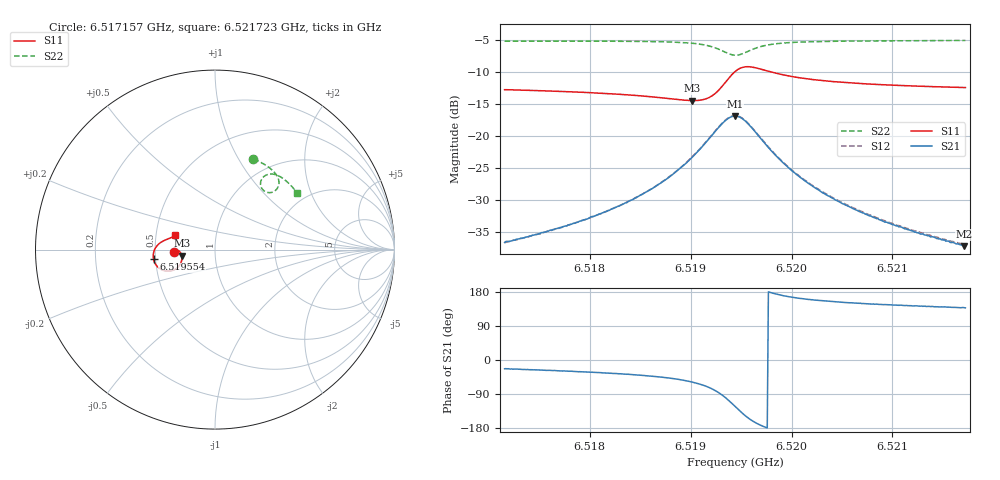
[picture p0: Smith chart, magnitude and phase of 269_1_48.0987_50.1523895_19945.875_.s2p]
#  HZ  S  RI  R  50.00
! Rohde & Schwarz Vector Network Analyzer
! Rohde-Schwarz,ZNB20-2Port,1311601062101988,3.16
! Created: UTC 12/23/2023, 4:01:34 AM
! freq[Hz]  re:S11  im:S11  re:S21  im:S21  re:S12  im:S12  re:S22  im:S22
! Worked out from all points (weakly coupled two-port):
!   401 points, 6.517157 GHz to 6.521723 GHz, reference 50 ohm
!   highest |S21| = -16.91 dB at 6.51944 GHz (marker M1); lowest = -37.2 dB at 6.521711 GHz (marker M2)
!   lowest |S11| = -14.5 dB at 6.519018 GHz (marker M3), VSWR 1.46, Z = 34.3 - j2.36 ohm
!   |S11| at or under -10 dB: start of sweep to 6.519438 GHz; 6.519794 GHz to end of sweep
!   |S22| runs from -7.4 to -5.1 dB; largest |S21 - S12| = 0.0044
!   S11 on the Smith chart (normalised r, x): 6.517157 GHz: 0.63, -0.02; 6.519554 GHz: 0.49, -0.06; 6.521723 GHz: 0.63, +0.10
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6.5171573e9  -0.229 -0.0138  0.0135 -0.00579  0.0136 -0.00542  0.2144 0.505
6.5174883e9  -0.2253 -0.00895  0.0153 -0.00758  0.0155 -0.00708  0.2386 0.4942
6.517922e9  -0.219 -0.00437  0.0187 -0.0112  0.019 -0.0107  0.2706 0.4774
6.5183444e9  -0.2099 -0.00291  0.0237 -0.0179  0.0243 -0.0172  0.3025 0.4568
6.5186868e9  -0.199 -0.00842  0.0299 -0.0295  0.0309 -0.0287  0.3291 0.433
6.518858e9  -0.1921 -0.0169  0.0335 -0.0406  0.035 -0.0396  0.3425 0.4161
6.5190178e9  -0.1856 -0.0332  0.0358 -0.0581  0.0378 -0.0574  0.353 0.3936
6.5191319e9  -0.1847 -0.0542  0.0331 -0.0786  0.0357 -0.0782  0.3561 0.3707
6.5192118e9  -0.1907 -0.0757  0.0243 -0.098  0.0273 -0.0982  0.3518 0.3502
6.5193488e9  -0.237 -0.1165  -0.023 -0.1304  -0.0195 -0.1322  0.3155 0.3185
6.5194401e9  -0.2968 -0.1124  -0.0765 -0.1206  -0.0735 -0.1238  0.274 0.3267
6.5194972e9  -0.3275 -0.087  -0.1009 -0.095  -0.099 -0.0986  0.2571 0.3486
6.5195543e9  -0.3425 -0.0539  -0.1103 -0.0645  -0.1095 -0.0683  0.254 0.3736
6.5196684e9  -0.3365 -0.000167  -0.0992 -0.0194  -0.0996 -0.0223  0.2734 0.408
6.5197825e9  -0.3167 0.028  -0.0793 0.00153  -0.0801 -0.000655  0.299 0.42
6.519988e9  -0.2881 0.0483  -0.0532 0.0129  -0.0542 0.0115  0.3343 0.4184
6.5202048e9  -0.2696 0.0563  -0.038 0.0145  -0.0388 0.0138  0.36 0.4079
6.520513e9  -0.2538 0.0622  -0.026 0.0138  -0.0268 0.0134  0.3865 0.3905
6.5209696e9  -0.2398 0.069  -0.0172 0.0116  -0.0176 0.0115  0.4169 0.3632
6.5213348e9  -0.2318 0.0739  -0.0131 0.0105  -0.0136 0.0103  0.4373 0.3411
6.5217115e9  -0.225 0.0789  -0.0102 0.00918  -0.0107 0.00928  0.4562 0.3177
6.5217229e9  -0.2248 0.079  -0.0102 0.00928  -0.0107 0.00916  0.4567 0.317
